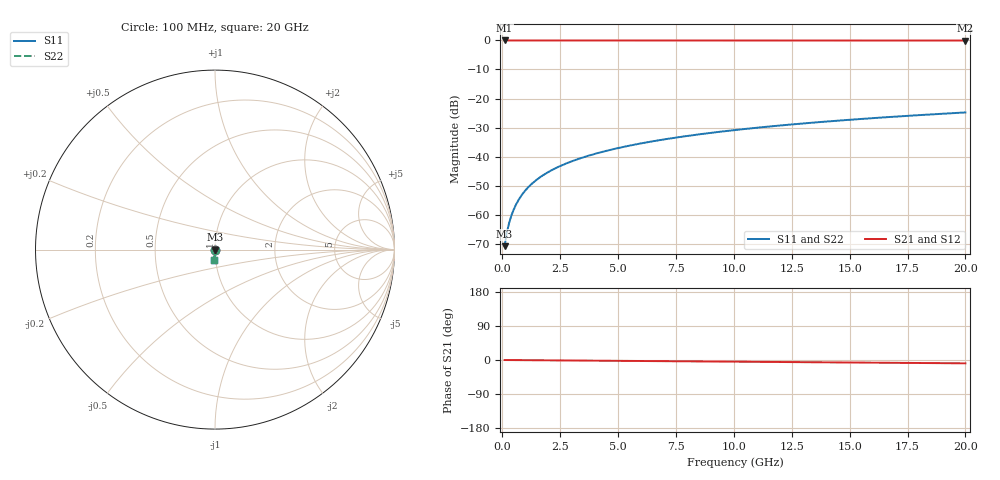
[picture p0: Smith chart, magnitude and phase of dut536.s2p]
! Touchstone file exported from HFSS 2026.1.0
!  File:  C:/ffzhzh/LocalFiles/Ansys_Project_Files/temp_train_TSV_536_1783023932_53980.aedt
!  Generated:  04:27:17 AM Jul  3, 2026
!  Design:  TSV
!  Project:  temp_train_TSV_536_1783023932_53980
! Variables:
!  h_bsmrdl = 2um
!  h_ox = 20um
!  h_rdl = 5um
!  h_sub = 87.98um
!  h_tmrdl = 5um
!  h_tsv = 87.98um
!  h_via = 3um
!  l_bsmrdl = 300um
!  l_sub = 417.92um
!  l_tmrdl = 200um
!  m_sub = 200um
!  pitch = 25.86um
!  r_tsv = 8.96um
!  s_tmrdl = 10um
!  w_bsmrdl = 18um
!  w_sub = 500um
!  w_tmrdl = 12um
!  x_tsv_center1 = 206um
!  x_tsv_center2 = 524um
!  x_tsv_center3 = 736um
!  x_tsv_center4 = 1054um
!  x_tsv_center5 = 1266um
!  x_tsv_center6 = 1584um
# GHz S MA R 50.000000
! Terminal data exported
! Port[1] = TSV1_1_T1
! Port[2] = TSV1_1_T2
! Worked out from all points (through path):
!   200 points, 100 MHz to 20 GHz, reference 50 ohm
!   highest |S21| = 0.00 dB at 100 MHz (marker M1); lowest = 0.0 dB at 20 GHz (marker M2)
!   group delay of S21, straight-line fit = 1.22 ps
!   lowest |S11| = -70.8 dB at 100 MHz (marker M3), VSWR 1.00, Z = 50 - j0.0227 ohm
!   |S11| at or under -10 dB: start of sweep to end of sweep
!   |S22| runs from -70.8 to -24.8 dB; largest |S21 - S12| = 2.3e-15
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0.1  0.0002873 -52.1  0.9998 -0.0  0.9998 -0.0  0.0002873 -52.1
! Gamma 0 0 0 0
! Port Impedance 50 0 50 0
0.2  0.0004989 -66.9  0.9998 -0.1  0.9998 -0.1  0.0004989 -66.9
0.3  0.000735 -72.3  0.9998 -0.1  0.9998 -0.1  0.000735 -72.3
0.4  0.0009853 -75.0  0.9997 -0.2  0.9997 -0.2  0.0009853 -75.0
0.5  0.001246 -76.6  0.9997 -0.2  0.9997 -0.2  0.001246 -76.6
0.7  0.001789 -78.8  0.9996 -0.3  0.9996 -0.3  0.001789 -78.8
0.8  0.002067 -79.6  0.9996 -0.4  0.9996 -0.4  0.002067 -79.6
1  0.002629 -81.0  0.9996 -0.5  0.9996 -0.5  0.002629 -81.0
1.2  0.003194 -82.1  0.9995 -0.5  0.9995 -0.5  0.003194 -82.1
1.4  0.003761 -83.0  0.9995 -0.6  0.9995 -0.6  0.003761 -83.0
1.7  0.004612 -84.1  0.9994 -0.8  0.9994 -0.8  0.004612 -84.1
2  0.005463 -84.9  0.9994 -0.9  0.9994 -0.9  0.005463 -84.9
2.7  0.00745 -86.2  0.9993 -1.2  0.9993 -1.2  0.00745 -86.2
3.5  0.00973 -87.3  0.9992 -1.6  0.9992 -1.6  0.00973 -87.3
4.2  0.01173 -88.0  0.9991 -1.9  0.9991 -1.9  0.01173 -88.0
5  0.01404 -88.6  0.999 -2.2  0.999 -2.2  0.01404 -88.6
6.8  0.01924 -89.9  0.9988 -3.0  0.9988 -3.0  0.01924 -89.9
8.3  0.0236 -90.9  0.9986 -3.7  0.9986 -3.7  0.0236 -90.9
10.1  0.02884 -91.9  0.9983 -4.5  0.9983 -4.5  0.02884 -91.9
13.4  0.03843 -93.7  0.9978 -5.9  0.9978 -5.9  0.03843 -93.7
16.7  0.04802 -95.4  0.9972 -7.3  0.9972 -7.3  0.04802 -95.4
20  0.0576 -97.0  0.9965 -8.8  0.9965 -8.8  0.0576 -97.0
